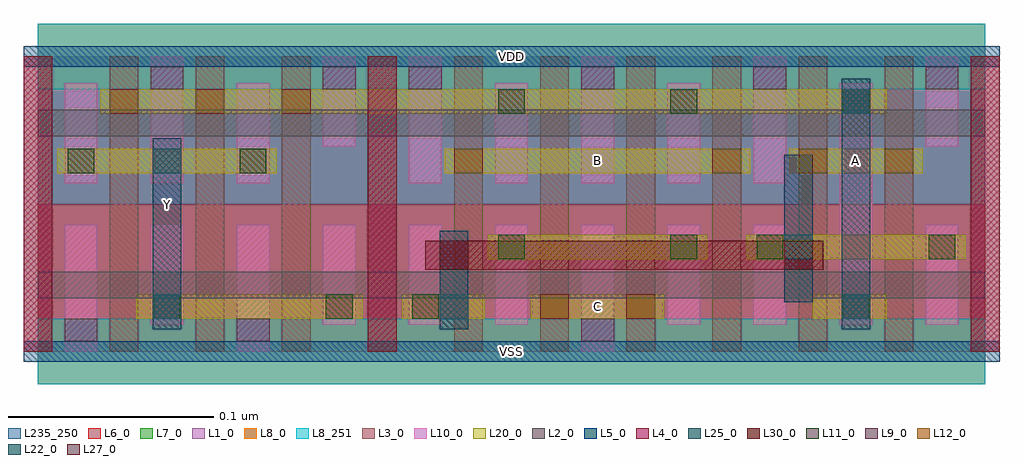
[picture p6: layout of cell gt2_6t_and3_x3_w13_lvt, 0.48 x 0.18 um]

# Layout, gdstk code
import gdstk
lib = gdstk.Library(unit=1e-6, precision=5e-10)
def R(c, l, rs):  # rectangles x0, y0, x1, y1
    for r in rs: c.add(gdstk.rectangle(r[:2], r[2:], *l))
def A(c, l, x, y, w, h, nx, ny, dx, dy):  # array of equal rectangles
    R(c, l, [(x+i*dx, y+j*dy, x+i*dx+w, y+j*dy+h) for i in range(nx) for j in range(ny)])
L1_0 = (1, 0)
L2_0 = (2, 0)
L3_0 = (3, 0)
L4_0 = (4, 0)
L5_0 = (5, 0)
L6_0 = (6, 0)
L7_0 = (7, 0)
L8_0 = (8, 0)
L8_251 = (8, 251)
L9_0 = (9, 0)
L10_0 = (10, 0)
L11_0 = (11, 0)
L12_0 = (12, 0)
L20_0 = (20, 0)
L22_0 = (22, 0)
L25_0 = (25, 0)
L27_0 = (27, 0)
L30_0 = (30, 0)
L235_250 = (235, 250)

gt2_6t_and3_x3_w13_lvt = lib.new_cell('gt2_6t_and3_x3_w13_lvt')
R(gt2_6t_and3_x3_w13_lvt, L1_0, [(0,0.072,0.462,0.144)])
R(gt2_6t_and3_x3_w13_lvt, L2_0, [(0,0.026,0.462,0.039), (0,0.105,0.462,0.118)])
A(gt2_6t_and3_x3_w13_lvt, L3_0, -0.007, 0, 0.014, 0.144, 12, 1, 0.042, 0)
R(gt2_6t_and3_x3_w13_lvt, L4_0, [(-0.007,0,0.007,0.144), (0.161,0,0.175,0.144), (0.455,0,0.469,0.144)])
R(gt2_6t_and3_x3_w13_lvt, L5_0, [(-0.007,-0.005,0.469,0.005), (-0.007,0.139,0.469,0.149)])
R(gt2_6t_and3_x3_w13_lvt, L6_0, [(0,0,0.462,0.072)])
R(gt2_6t_and3_x3_w13_lvt, L7_0, [(0,0.072,0.462,0.144)])
R(gt2_6t_and3_x3_w13_lvt, L8_0, [(0,-0.016,0.462,0.016), (0,0.128,0.462,0.16)])
R(gt2_6t_and3_x3_w13_lvt, L8_251, [(0,-0.016,0.462,0.016), (0,0.128,0.462,0.16)])
A(gt2_6t_and3_x3_w13_lvt, L9_0, 0.181, 0.128, 0.016, 0.011, 4, 1, 0.084, 0)
R(gt2_6t_and3_x3_w13_lvt, L9_0, [(0.013,0.005,0.029,0.016), (0.097,0.005,0.113,0.016), (0.265,0.005,0.281,0.016), (0.055,0.128,0.071,0.139), (0.139,0.128,0.155,0.139)])
A(gt2_6t_and3_x3_w13_lvt, L10_0, 0.139, 0.013, 0.016, 0.049, 3, 1, 0.042, 0)
A(gt2_6t_and3_x3_w13_lvt, L10_0, 0.181, 0.082, 0.016, 0.062, 3, 1, 0.084, 0)
R(gt2_6t_and3_x3_w13_lvt, L10_0, [(0.013,0,0.029,0.062), (0.097,0,0.113,0.062), (0.265,0,0.281,0.062), (0.055,0.013,0.071,0.062), (0.307,0.013,0.323,0.062), (0.349,0.013,0.365,0.062), (0.391,0.013,0.407,0.131), (0.433,0.013,0.449,0.062), (0.013,0.082,0.029,0.131), (0.055,0.082,0.071,0.144), (0.097,0.082,0.113,0.131), (0.223,0.082,0.239,0.131), (0.307,0.082,0.323,0.131), (0.139,0.1,0.155,0.144), (0.433,0.1,0.449,0.144)])
A(gt2_6t_and3_x3_w13_lvt, L11_0, 0.2245, 0.116, 0.013, 0.012, 3, 1, 0.084, 0)
R(gt2_6t_and3_x3_w13_lvt, L11_0, [(0.0565,0.016,0.0695,0.028), (0.1405,0.016,0.1535,0.028), (0.1825,0.016,0.1955,0.028), (0.3925,0.016,0.4055,0.028), (0.2245,0.045,0.2375,0.057), (0.3085,0.045,0.3215,0.057), (0.3505,0.045,0.3635,0.057), (0.4345,0.045,0.4475,0.057), (0.0145,0.087,0.0275,0.099), (0.0985,0.087,0.1115,0.099)])
A(gt2_6t_and3_x3_w13_lvt, L12_0, 0.329, 0.087, 0.014, 0.012, 3, 1, 0.042, 0)
A(gt2_6t_and3_x3_w13_lvt, L12_0, 0.035, 0.116, 0.014, 0.012, 3, 1, 0.042, 0)
R(gt2_6t_and3_x3_w13_lvt, L12_0, [(0.245,0.016,0.259,0.028), (0.287,0.016,0.301,0.028), (0.203,0.087,0.217,0.099)])
R(gt2_6t_and3_x3_w13_lvt, L20_0, [(0.048,0.016,0.1585,0.028), (0.1775,0.016,0.218,0.028), (0.2405,0.016,0.3055,0.028), (0.378,0.016,0.414,0.028), (0.2195,0.045,0.3265,0.057), (0.3455,0.045,0.4525,0.057), (0.0095,0.087,0.1165,0.099), (0.1985,0.087,0.3475,0.099), (0.3665,0.087,0.4315,0.099), (0.0305,0.116,0.414,0.128)])
R(gt2_6t_and3_x3_w13_lvt, L22_0, [(0.056,0.016,0.07,0.028), (0.196,0.016,0.21,0.028), (0.392,0.016,0.406,0.028), (0.364,0.045,0.378,0.057), (0.056,0.087,0.07,0.099), (0.392,0.116,0.406,0.128)])
R(gt2_6t_and3_x3_w13_lvt, L25_0, [(0.056,0.011,0.07,0.104), (0.196,0.011,0.21,0.059), (0.392,0.011,0.406,0.133), (0.364,0.024,0.378,0.096)])
R(gt2_6t_and3_x3_w13_lvt, L27_0, [(0.196,0.04,0.21,0.054), (0.364,0.04,0.378,0.054)])
R(gt2_6t_and3_x3_w13_lvt, L30_0, [(0.189,0.04,0.383,0.054)])
R(gt2_6t_and3_x3_w13_lvt, L235_250, [(0,0,0.462,0.144)])
gt2_6t_and3_x3_w13_lvt.add(gdstk.Label('VSS', (0.231,0), layer=8, texttype=251))
gt2_6t_and3_x3_w13_lvt.add(gdstk.Label('VDD', (0.231,0.144), layer=8, texttype=251))
gt2_6t_and3_x3_w13_lvt.add(gdstk.Label('C', (0.273,0.022), layer=20, texttype=251))
gt2_6t_and3_x3_w13_lvt.add(gdstk.Label('A', (0.399,0.093), layer=20, texttype=251))
gt2_6t_and3_x3_w13_lvt.add(gdstk.Label('B', (0.273,0.093), layer=20, texttype=251))
gt2_6t_and3_x3_w13_lvt.add(gdstk.Label('Y', (0.063,0.072), layer=25, texttype=251))

lib.write_gds('gt2_6t_and3_x3_w13_lvt.gds')
